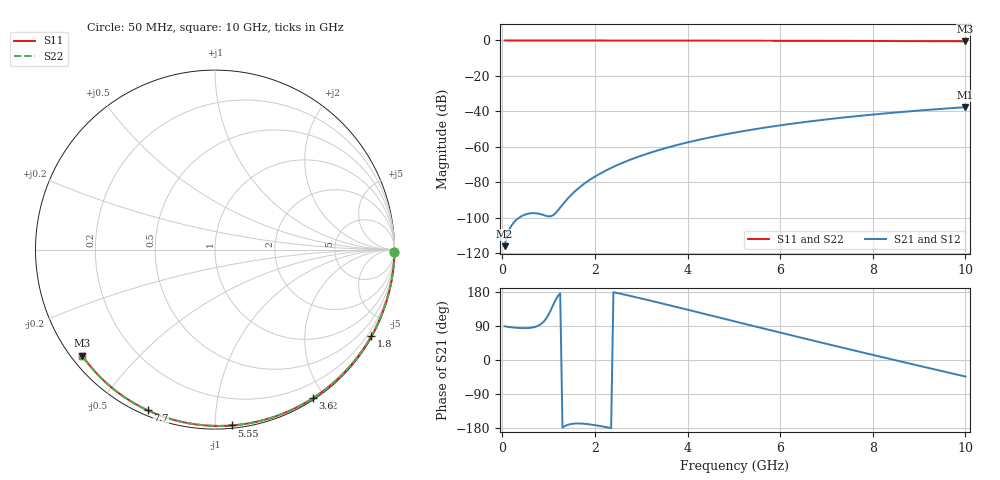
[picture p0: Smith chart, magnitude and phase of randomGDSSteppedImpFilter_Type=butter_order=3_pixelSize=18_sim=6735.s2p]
! freq	dB(S11)	phase(S11)	dB(S12)	phase(S12)
!  dB(S21)	phase(S21)	dB(S22)	phase(S22)
!S-par simulation data
#  GHz  S  DB  R 50
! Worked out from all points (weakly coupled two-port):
!   200 points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, 50 MHz to 10 GHz, reference 50 ohm
!   highest |S21| = -37.65 dB at 10 GHz (marker M1); lowest = -116.1 dB at 50 MHz (marker M2)
!   lowest |S11| = -0.5 dB at 10 GHz (marker M3), VSWR 36.45, Z = 1.54 - j17.5 ohm
!   |S11| at or under -10 dB: nowhere
!   |S22| runs from -0.5 to 0.0 dB; largest |S21 - S12| = 0
!   S11 on the Smith chart (normalised r, x): 50 MHz: open; 1.8 GHz: 0.03, -3.87; 3.6 GHz: 0.02, -1.86; 5.55 GHz: 0.02, -1.10; 7.7 GHz: 0.02, -0.67; 10 GHz: 0.03, -0.35
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0.05  -0.00 -0.8  -116.06 88.9  -116.06 88.9  -0.00 -0.8
0.45  -0.01 -7.4  -98.69 84.1  -98.69 84.1  -0.01 -7.4
0.9  -0.02 -14.6  -98.59 102.0  -98.59 102.0  -0.02 -14.6
1.3  -0.03 -21.1  -92.68 -178.4  -92.68 -178.4  -0.03 -21.1
1.75  -0.04 -28.2  -81.20 -168.1  -81.20 -168.1  -0.04 -28.2
1.8  -0.04 -29.0  -80.23 -168.7  -80.23 -168.7  -0.04 -29.0
2.05  -0.04 -32.9  -76.03 -172.9  -76.03 -172.9  -0.04 -32.9
2.2  -0.04 -35.3  -73.87 -176.2  -73.87 -176.2  -0.04 -35.3
2.55  -0.05 -40.7  -69.54 175.0  -69.54 175.0  -0.05 -40.7
2.95  -0.06 -46.9  -65.48 163.8  -65.48 163.8  -0.06 -46.9
3.4  -0.07 -53.6  -61.69 150.7  -61.69 150.7  -0.07 -53.6
3.6  -0.08 -56.6  -60.21 144.7  -60.21 144.7  -0.08 -56.6
3.9  -0.08 -61.1  -58.16 135.7  -58.16 135.7  -0.08 -61.1
4.3  -0.09 -66.9  -55.73 123.7  -55.73 123.7  -0.09 -66.9
5.05  -0.12 -77.5  -51.85 101.0  -51.85 101.0  -0.12 -77.5
5.55  -0.14 -84.4  -49.66 85.9  -49.66 85.9  -0.14 -84.4
6.1  -0.16 -91.9  -47.53 69.4  -47.53 69.4  -0.16 -91.9
6.7  -0.19 -99.8  -45.48 51.5  -45.48 51.5  -0.19 -99.8
7.7  -0.26 -112.7  -42.58 22.2  -42.58 22.2  -0.26 -112.7
8.35  -0.31 -120.9  -40.97 3.3  -40.97 3.3  -0.31 -120.9
9.2  -0.39 -131.5  -39.13 -21.0  -39.13 -21.0  -0.39 -131.5
10  -0.48 -141.4  -37.65 -43.6  -37.65 -43.6  -0.48 -141.4
